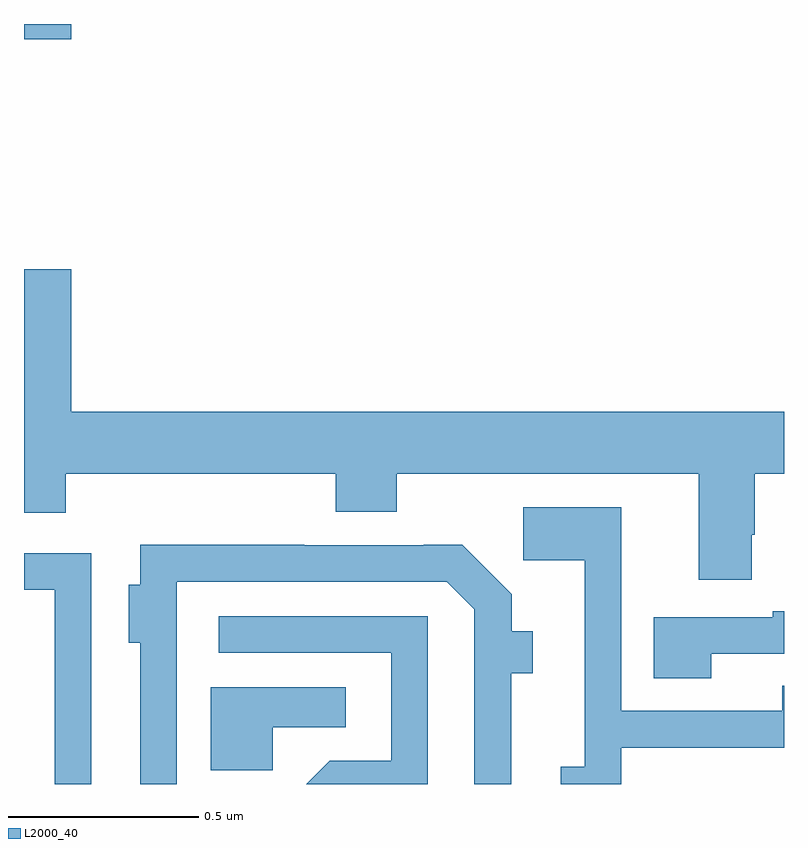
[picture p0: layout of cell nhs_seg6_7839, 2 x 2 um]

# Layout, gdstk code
import gdstk
lib = gdstk.Library(unit=1e-6, precision=1e-09)
def R(c, l, rs):  # rectangles x0, y0, x1, y1
    for r in rs: c.add(gdstk.rectangle(r[:2], r[2:], *l))
def P(c, l, *ps):  # polygons
    for p in ps: c.add(gdstk.Polygon(p, *l))
L2000_40 = (2000, 40)

nhs_seg6_7839 = lib.new_cell('nhs_seg6_7839')
R(nhs_seg6_7839, L2000_40, [(213,968.46,213.124,968.5)])
P(nhs_seg6_7839, L2000_40, [(214.915,967.156),(214.923,967.156),(214.923,967.316),(215,967.316),(215,967.48),(213.124,967.48),(213.124,967.855),(213,967.855),(213,967.214),(213.11,967.214),(213.11,967.316),(213.821,967.316),(213.821,967.217),(213.981,967.217),(213.981,967.316),(214.775,967.316),(214.775,967.038),(214.915,967.038)],
  [(214.572,966.596),(215,966.596),(215,966.758),(214.996,966.758),(214.996,966.693),(214.572,966.693),(214.572,967.228),(214.314,967.228),(214.314,967.089),(214.475,967.089),(214.475,966.546),(214.413,966.546),(214.413,966.5),(214.572,966.5)],
  [(213.402,967.032),(214.113,967.032),(214.185,966.96),(214.185,966.5),(214.282,966.5),(214.282,966.792),(214.339,966.792),(214.339,966.902),(214.283,966.902),(214.283,967),(214.153,967.13),(214.052,967.13),(214.052,967.128),(213.737,967.128),(213.737,967.13),(213.306,967.13),(213.306,967.024),(213.275,967.024),(213.275,966.872),(213.306,966.872),(213.306,966.5),(213.402,966.5)],
  [(213.177,967.107),(213,967.107),(213,967.011),(213.081,967.011),(213.081,966.5),(213.177,966.5)],
  [(214.809,966.843),(215,966.843),(215,966.954),(214.97,966.954),(214.97,966.939),(214.657,966.939),(214.657,966.778),(214.809,966.778)],
  [(214.062,966.942),(213.513,966.942),(213.513,966.846),(213.966,966.846),(213.966,966.561),(213.804,966.561),(213.743,966.5),(214.062,966.5)],
  [(213.655,966.65),(213.847,966.65),(213.847,966.754),(213.491,966.754),(213.491,966.536),(213.655,966.536)])

lib.write_gds('nhs_seg6_7839.gds')
